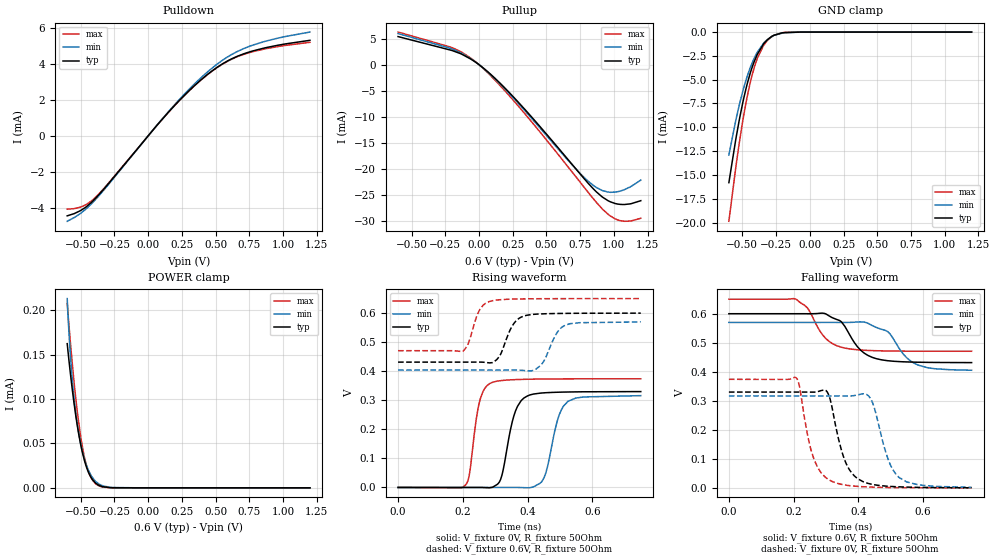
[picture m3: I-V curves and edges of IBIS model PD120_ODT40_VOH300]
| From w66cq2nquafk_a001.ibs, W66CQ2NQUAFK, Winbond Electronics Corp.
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[Model]   PD120_ODT40_VOH300
Model_type   I/O
Polarity   Non-Inverting
Enable   Active-Low
Vinl = 0.08
Vinh = 0.22
Vmeas = 0.15
Vref = 0
Cref = 0pF
Rref = 40
|   typ   min   max
C_comp   0.85pF   0.80pF   0.90pF
[Voltage Range]   0.6   0.57   0.65
[Temperature Range]   25   105   -40
[Pullup Reference]   0.6   0.57   0.65
[Pulldown Reference]   0   0   0
[Power Clamp Reference]   0.6   0.57   0.65
[GND Clamp Reference]   0   0   0
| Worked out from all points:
|   slope of the pulldown table from 0 to 0.09 V, typ, clamps not added: 112 ohm
|   slope of the pullup table from 0 to 0.09 V, typ, clamps not added: 46.5 ohm
|   GND clamp passes 1 mA (typ) near -0.33 V on its own axis
|   falling waveform, V_fixture 0.6V, R_fixture 50Ohm: 20-80 % time 65.2ps typ, 68.3ps min, 61.4ps max; typ from 0.6 V to 0.432 V
|   rising waveform, V_fixture 0V, R_fixture 50Ohm: 20-80 % time 37.4ps typ, 39.3ps min, 28.4ps max; typ from 0 V to 0.33 V
|   rising waveform, V_fixture 0.6V, R_fixture 50Ohm: 20-80 % time 39.6ps typ, 42.2ps min, 33.1ps max; typ from 0.431 V to 0.6 V
|   falling waveform, V_fixture 0V, R_fixture 50Ohm: 20-80 % time 49.4ps typ, 50.7ps min, 47ps max; typ from 0.33 V to 0 V
[Pulldown]
|   Voltage   I(typ)   I(min)   I(max)
-600mV    -4.454mA   -4.756mA   -4.083mA
-498.6mV  -4.149mA   -4.302mA   -3.96mA
-409.8mV  -3.628mA   -3.702mA   -3.56mA
-315.3mV  -2.849mA   -2.9mA     -2.82mA
62.34mV   560.6uA    570.6uA    559.7uA
206.7mV   1.777mA    1.821mA    1.773mA
371.9mV   2.992mA    3.097mA    2.982mA
507.6mV   3.8mA      3.974mA    3.785mA
620.7mV   4.299mA    4.54mA     4.278mA
769.7mV   4.719mA    5.041mA    4.679mA
957.6mV   5.044mA    5.439mA    4.972mA
1.2V      5.325mA    5.787mA    5.215mA
[GND Clamp]
|   Voltage   I(typ)   I(min)   I(max)
-600mV    -15.82mA   -12.92mA   -19.87mA
-545.4mV  -11mA      -9.057mA   -13.87mA
-498mV    -7.488mA   -6.279mA   -9.397mA
-473.9mV  -6mA       -5.096mA   -7.467mA
-433.6mV  -3.96mA    -3.463mA   -4.825mA
-410.2mV  -3.043mA   -2.702mA   -3.633mA
-388.1mV  -2.316mA   -2.094mA   -2.725mA
-343.9mV  -1.275mA   -1.203mA   -1.434mA
-279.6mV  -427.2uA   -459.4uA   -466.5uA
-196.3mV  -69.27uA   -96.92uA   -56.34uA
-59.4mV   -1.33uA    -3.985uA   -418.5nA
1.2V      0A         0A         0A
[Pullup]
|   Voltage   I(typ)   I(min)   I(max)
-600mV    5.379mA    5.957mA    6.249mA
-196.3mV  2.675mA    2.962mA    3.222mA
-128.1mV  2.004mA    2.174mA    2.389mA
1.9mV     -39.65uA   -40.4uA    -43.14uA
127.3mV   -2.837mA   -2.943mA   -3.206mA
299.6mV   -7.432mA   -7.655mA   -8.185mA
753.8mV   -21.09mA   -20.98mA   -22.67mA
869.5mV   -24.39mA   -23.56mA   -26.39mA
957mV     -26.11mA   -24.46mA   -28.71mA
1.028V    -26.76mA   -24.39mA   -29.8mA
1.12V     -26.73mA   -23.49mA   -30.02mA
1.2V      -26.11mA   -22.16mA   -29.49mA
[POWER Clamp]
|   Voltage   I(typ)   I(min)   I(max)
-600mV    162.4uA    213.1uA    207.7uA
-582.9mV  137.7uA    164.1uA    175.4uA
-567.5mV  117.2uA    130.9uA    148.5uA
-544.7mV  90.22uA    94.56uA    112.3uA
-518.5mV  63.93uA    65.11uA    78.03uA
-498.6mV  47.64uA    48.91uA    55.87uA
-474.6mV  32.12uA    33.89uA    35.76uA
-455.7mV  22.71uA    24.99uA    24.16uA
-410.2mV  8.883uA    11.07uA    8.112uA
-364mV    2.821uA    4.165uA    2.166uA
-263.7mV  120.9nA    351.6nA    13.95nA
1.2V      0A         0A         0A
[Ramp]
R_load = 50
|   typ   min   max
dV/dt_r 1.9798E-01/3.7404E-11   1.8959E-01/3.9264E-11   2.2434E-01/2.8443E-11
dV/dt_f 1.0107E-01/6.4761E-11   9.8860E-02/6.8288E-11   1.0760E-01/6.1259E-11
[Falling Waveform]
V_fixture = 0.6V
V_fixture_min = 0.57V
V_fixture_max = 0.65V
R_fixture = 50Ohm
C_fixture = 0F
|   Time   V(typ)   V(min)   V(max)
0s        600mV      570mV      650mV
206ps     600mV      570mV      650.8mV
243ps     600mV      570mV      619.6mV
296ps     600.9mV    570mV      519mV
347ps     572.7mV    569.9mV    484.7mV
418ps     464.4mV    571.3mV    474.2mV
491ps     438mV      538mV      471.7mV
540ps     434.3mV    459.6mV    471.1mV
584ps     432.9mV    423.4mV    470.9mV
750ps     431.6mV    405.2mV    470.7mV
[Rising Waveform]
V_fixture = 0V
V_fixture_min = 0V
V_fixture_max = 0V
R_fixture = 50Ohm
C_fixture = 0F
|   Time   V(typ)   V(min)   V(max)
0s        7.087uV    32.11uV    1.39uV
209ps     6.388uV    32.12uV    9.122mV
254ps     16.12uV    32.19uV    304.5mV
291ps     592.8uV    31.24uV    361.6mV
317ps     27.87mV    34.95uV    367.6mV
358ps     246.8mV    68.75uV    370.9mV
389ps     307.9mV    -654.4uV   372.1mV
451ps     325.7mV    33.15mV    373.3mV
525ps     328.5mV    296.3mV    373.7mV
750ps     330mV      316mV      373.9mV
[Rising Waveform]
V_fixture = 0.6V
V_fixture_min = 0.57V
V_fixture_max = 0.65V
R_fixture = 50Ohm
C_fixture = 0F
|   Time   V(typ)   V(min)   V(max)
0s        431.4mV    403.9mV    470.7mV
200ps     431.4mV    403.9mV    469.1mV
254ps     431.5mV    403.9mV    614.8mV
291ps     429.6mV    403.9mV    642.6mV
317ps     458.7mV    403.9mV    646.3mV
358ps     564.6mV    404.1mV    648.4mV
388ps     589.7mV    402.7mV    649mV
439ps     597.2mV    418.5mV    649.6mV
518ps     599.1mV    559.1mV    649.9mV
750ps     600mV      569.7mV    650mV
[Falling Waveform]
|Gnd
V_fixture = 0V
V_fixture_min = 0V
V_fixture_max = 0V
R_fixture = 50Ohm
C_fixture = 0F
|   Time   V(typ)   V(min)   V(max)
0s        330mV      316.7mV    373.9mV
208ps     330mV      316.7mV    379.4mV
263ps     329.8mV    316.7mV    98.18mV
300ps     335.4mV    316.7mV    34.75mV
320ps     270.2mV    316.7mV    21.44mV
358ps     95.32mV    316.5mV    9.973mV
412ps     22.71mV    323.8mV    3.979mV
444ps     11.7mV     293.2mV    2.396mV
525ps     3.467mV    36.42mV    682uV
750ps     204.2uV    1.595mV    -12.8uV
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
